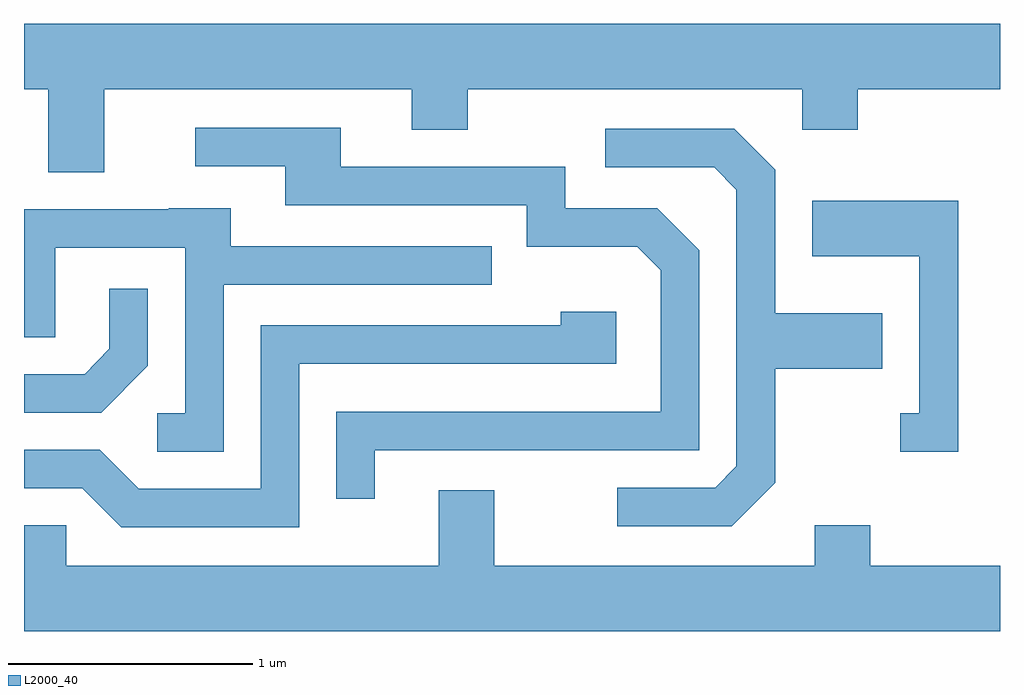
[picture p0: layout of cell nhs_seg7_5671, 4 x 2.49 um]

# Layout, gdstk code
import gdstk
lib = gdstk.Library(unit=1e-6, precision=1e-09)
def P(c, l, *ps):  # polygons
    for p in ps: c.add(gdstk.Polygon(p, *l))
L2000_40 = (2000, 40)

nhs_seg7_5671 = lib.new_cell('nhs_seg7_5671')
P(nhs_seg7_5671, L2000_40, [(357.939,1805.336),(359.201,1805.336),(359.201,1805.171),(359.429,1805.171),(359.429,1805.336),(360.801,1805.336),(360.801,1805.171),(361.029,1805.171),(361.029,1805.336),(361.611,1805.336),(361.611,1805.604),(357.611,1805.604),(357.611,1805.336),(357.711,1805.336),(357.711,1804.996),(357.939,1804.996)],
  [(359.049,1803.856),(360.379,1803.856),(360.379,1804.677),(360.207,1804.849),(359.829,1804.849),(359.829,1805.019),(358.909,1805.019),(358.909,1805.179),(358.313,1805.179),(358.313,1805.021),(358.681,1805.021),(358.681,1804.861),(359.671,1804.861),(359.671,1804.691),(360.124,1804.691),(360.221,1804.594),(360.221,1804.014),(358.891,1804.014),(358.891,1803.658),(359.049,1803.658)],
  [(360.689,1803.724),(360.689,1804.191),(361.129,1804.191),(361.129,1804.419),(360.689,1804.419),(360.689,1805.007),(360.522,1805.174),(359.993,1805.174),(359.993,1805.016),(360.439,1805.016),(360.531,1804.924),(360.531,1803.792),(360.444,1803.704),(360.043,1803.704),(360.043,1803.546),(360.512,1803.546)],
  [(361.439,1804.879),(360.841,1804.879),(360.841,1804.651),(361.281,1804.651),(361.281,1804.009),(361.203,1804.009),(361.203,1803.851),(361.439,1803.851)],
  [(358.429,1804.536),(359.528,1804.536),(359.528,1804.694),(358.459,1804.694),(358.459,1804.849),(358.205,1804.849),(358.205,1804.844),(357.611,1804.844),(357.611,1804.321),(357.739,1804.321),(357.739,1804.686),(358.271,1804.686),(358.271,1804.009),(358.158,1804.009),(358.158,1803.851),(358.429,1803.851)],
  [(358.119,1804.204),(358.119,1804.518),(357.961,1804.518),(357.961,1804.272),(357.859,1804.169),(357.611,1804.169),(357.611,1804.011),(357.927,1804.011)],
  [(358.739,1804.211),(360.039,1804.211),(360.039,1804.424),(359.811,1804.424),(359.811,1804.369),(358.581,1804.369),(358.581,1803.699),(358.082,1803.699),(357.922,1803.859),(357.611,1803.859),(357.611,1803.701),(357.849,1803.701),(358.009,1803.541),(358.739,1803.541)],
  [(361.611,1803.384),(361.079,1803.384),(361.079,1803.549),(360.851,1803.549),(360.851,1803.384),(359.539,1803.384),(359.539,1803.694),(359.311,1803.694),(359.311,1803.384),(357.784,1803.384),(357.784,1803.549),(357.611,1803.549),(357.611,1803.116),(361.611,1803.116)])

lib.write_gds('nhs_seg7_5671.gds')
